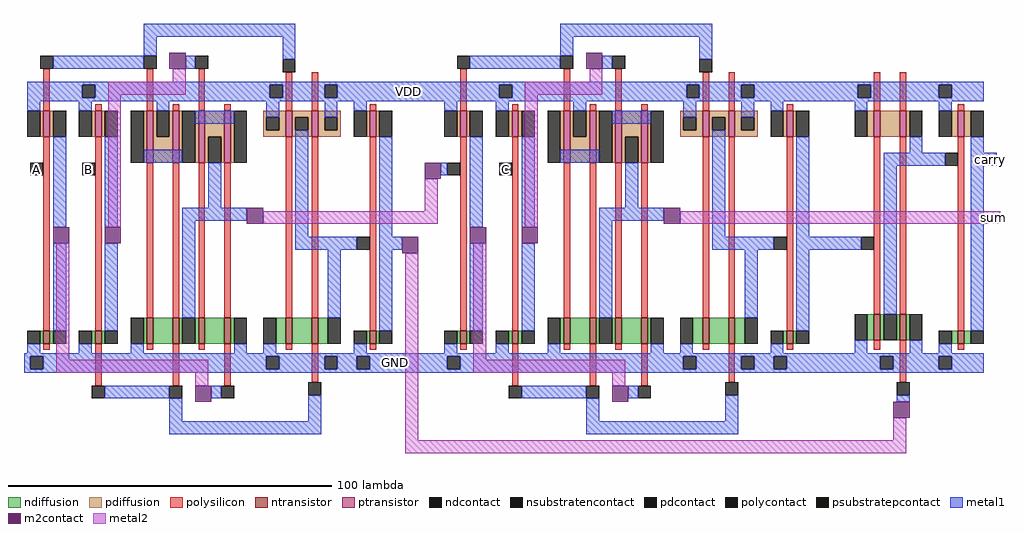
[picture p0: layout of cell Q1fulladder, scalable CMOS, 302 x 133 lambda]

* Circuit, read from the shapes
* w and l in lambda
.subckt Q1fulladder A B C GND VDD carry sum
M1 n1 A GND GND nfet w=4 l=2
M2 n2 B GND GND nfet w=4 l=2
M3 n3 A GND GND nfet w=8 l=2
M4 n4 B n3 GND nfet w=8 l=2
M5 n5 n2 n4 GND nfet w=8 l=2
M6 GND n1 n5 GND nfet w=8 l=2
M7 n6 A GND GND nfet w=8 l=2
M8 n7 B n6 GND nfet w=8 l=2
M9 n8 n7 GND GND nfet w=4 l=2
M10 n9 n4 GND GND nfet w=4 l=2
M11 n10 C GND GND nfet w=4 l=2
M12 n11 n4 GND GND nfet w=8 l=2
M13 sum C n11 GND nfet w=8 l=2
M14 n12 n10 sum GND nfet w=8 l=2
M15 GND n9 n12 GND nfet w=8 l=2
M16 n13 n4 GND GND nfet w=8 l=2
M17 n14 C n13 GND nfet w=8 l=2
M18 n15 n14 GND GND nfet w=4 l=2
M19 n16 n15 GND GND nfet w=8 l=2
M20 GND n8 n16 GND nfet w=8 l=2
M21 carry n16 GND GND nfet w=4 l=2
M22 n1 A VDD VDD pfet w=8 l=2
M23 n2 B VDD VDD pfet w=8 l=2
M24 VDD A n17 VDD pfet w=16 l=2
M25 n17 B VDD VDD pfet w=16 l=2
M26 n4 n2 n17 VDD pfet w=16 l=2
M27 n17 n1 n4 VDD pfet w=16 l=2
M28 n7 A VDD VDD pfet w=8 l=2
M29 VDD B n7 VDD pfet w=8 l=2
M30 n8 n7 VDD VDD pfet w=8 l=2
M31 n9 n4 VDD VDD pfet w=8 l=2
M32 n10 C VDD VDD pfet w=8 l=2
M33 VDD n4 n18 VDD pfet w=16 l=2
M34 n18 C VDD VDD pfet w=16 l=2
M35 sum n10 n18 VDD pfet w=16 l=2
M36 n18 n9 sum VDD pfet w=16 l=2
M37 n14 n4 VDD VDD pfet w=8 l=2
M38 VDD C n14 VDD pfet w=8 l=2
M39 n15 n14 VDD VDD pfet w=8 l=2
M40 n19 n15 VDD VDD pfet w=8 l=2
M41 n16 n8 n19 VDD pfet w=8 l=2
M42 carry n16 VDD VDD pfet w=8 l=2
.ends

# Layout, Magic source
magic
tech scmos
<< polysilicon >>
rect 6 100 8 113
rect 22 100 24 102
rect 38 100 40 113
rect 46 100 48 102
rect 54 100 56 113
rect 62 100 64 102
rect 81 100 83 112
rect 89 100 91 112
rect 107 100 109 102
rect 135 100 137 113
rect 151 100 153 102
rect 167 100 169 113
rect 175 100 177 102
rect 183 100 185 113
rect 191 100 193 102
rect 210 100 212 112
rect 218 100 220 112
rect 236 100 238 102
rect 263 100 265 112
rect 271 100 273 112
rect 289 100 291 102
rect 6 32 8 92
rect 22 32 24 92
rect 38 36 40 84
rect 46 36 48 84
rect 54 36 56 84
rect 62 36 64 84
rect 81 36 83 92
rect 89 36 91 92
rect 107 32 109 92
rect 135 32 137 92
rect 151 32 153 92
rect 167 36 169 84
rect 175 36 177 84
rect 183 36 185 84
rect 191 36 193 84
rect 210 36 212 92
rect 218 36 220 92
rect 236 32 238 92
rect 263 37 265 92
rect 271 37 273 92
rect 289 32 291 92
rect 6 26 8 28
rect 22 15 24 28
rect 38 26 40 28
rect 46 15 48 28
rect 54 26 56 28
rect 62 15 64 28
rect 81 26 83 28
rect 89 16 91 28
rect 107 26 109 28
rect 135 26 137 28
rect 151 15 153 28
rect 167 26 169 28
rect 175 15 177 28
rect 183 26 185 28
rect 191 15 193 28
rect 210 26 212 28
rect 218 16 220 28
rect 236 26 238 28
rect 263 26 265 29
rect 271 16 273 29
rect 289 26 291 28
<< ndiffusion >>
rect 5 28 6 32
rect 8 28 9 32
rect 21 28 22 32
rect 24 28 25 32
rect 37 28 38 36
rect 40 28 46 36
rect 48 28 49 36
rect 53 28 54 36
rect 56 28 62 36
rect 64 28 65 36
rect 78 28 81 36
rect 83 28 89 36
rect 91 28 94 36
rect 106 28 107 32
rect 109 28 110 32
rect 134 28 135 32
rect 137 28 138 32
rect 150 28 151 32
rect 153 28 154 32
rect 166 28 167 36
rect 169 28 175 36
rect 177 28 178 36
rect 182 28 183 36
rect 185 28 191 36
rect 193 28 194 36
rect 207 28 210 36
rect 212 28 218 36
rect 220 28 223 36
rect 235 28 236 32
rect 238 28 239 32
rect 261 29 263 37
rect 265 29 266 37
rect 270 29 271 37
rect 273 29 274 37
rect 287 28 289 32
rect 291 28 293 32
<< pdiffusion >>
rect 5 92 6 100
rect 8 92 9 100
rect 21 92 22 100
rect 24 92 25 100
rect 37 84 38 100
rect 40 92 41 100
rect 45 92 46 100
rect 40 84 46 92
rect 48 84 49 100
rect 53 84 54 100
rect 56 92 62 100
rect 56 84 57 92
rect 61 84 62 92
rect 64 84 65 100
rect 74 98 81 100
rect 74 94 75 98
rect 79 94 81 98
rect 74 92 81 94
rect 83 98 89 100
rect 83 94 84 98
rect 88 94 89 98
rect 83 92 89 94
rect 91 98 98 100
rect 91 94 93 98
rect 97 94 98 98
rect 91 92 98 94
rect 106 92 107 100
rect 109 92 110 100
rect 134 92 135 100
rect 137 92 138 100
rect 150 92 151 100
rect 153 92 154 100
rect 166 84 167 100
rect 169 92 170 100
rect 174 92 175 100
rect 169 84 175 92
rect 177 84 178 100
rect 182 84 183 100
rect 185 92 191 100
rect 185 84 186 92
rect 190 84 191 92
rect 193 84 194 100
rect 203 98 210 100
rect 203 94 204 98
rect 208 94 210 98
rect 203 92 210 94
rect 212 98 218 100
rect 212 94 213 98
rect 217 94 218 98
rect 212 92 218 94
rect 220 98 227 100
rect 220 94 222 98
rect 226 94 227 98
rect 220 92 227 94
rect 235 92 236 100
rect 238 92 239 100
rect 261 92 263 100
rect 265 92 271 100
rect 273 92 274 100
rect 287 92 289 100
rect 291 92 293 100
<< metal1 >>
rect 37 123 84 127
rect 37 117 41 123
rect 9 113 37 117
rect 50 113 53 117
rect 80 116 84 123
rect 166 123 213 127
rect 166 117 170 123
rect 138 113 166 117
rect 179 113 182 117
rect 209 116 213 123
rect 1 108 297 109
rect 1 104 18 108
rect 22 104 76 108
rect 80 104 93 108
rect 97 104 147 108
rect 151 104 205 108
rect 209 104 222 108
rect 226 104 258 108
rect 262 104 283 108
rect 287 104 297 108
rect 1 103 297 104
rect 1 100 5 103
rect 17 100 21 103
rect 41 100 45 103
rect 9 64 13 92
rect 25 64 29 92
rect 37 84 49 88
rect 53 96 65 100
rect 75 98 79 103
rect 93 98 97 103
rect 102 100 106 103
rect 130 100 134 103
rect 146 100 150 103
rect 170 100 174 103
rect 57 70 61 84
rect 49 66 69 70
rect 9 32 13 59
rect 25 32 29 59
rect 49 36 53 66
rect 84 61 88 94
rect 110 61 114 92
rect 129 80 131 84
rect 138 64 142 92
rect 154 64 158 92
rect 166 84 178 88
rect 182 96 194 100
rect 204 98 208 103
rect 222 98 226 103
rect 231 100 235 103
rect 257 100 261 103
rect 283 100 287 103
rect 186 70 190 84
rect 178 66 198 70
rect 84 57 103 61
rect 110 57 117 61
rect 94 36 98 57
rect 1 25 5 28
rect 17 25 21 28
rect 33 25 37 28
rect 65 25 69 28
rect 110 32 114 57
rect 138 32 142 59
rect 154 32 158 59
rect 178 36 182 66
rect 213 61 217 94
rect 239 61 243 92
rect 274 87 278 92
rect 293 87 297 92
rect 266 83 285 87
rect 293 83 301 87
rect 213 57 232 61
rect 239 57 259 61
rect 223 36 227 57
rect 74 25 78 28
rect 102 25 106 28
rect 130 25 134 28
rect 146 25 150 28
rect 162 25 166 28
rect 194 25 198 28
rect 239 32 243 57
rect 266 37 270 83
rect 293 32 297 83
rect 203 25 207 28
rect 231 25 235 28
rect 257 25 261 29
rect 274 25 278 29
rect 283 25 287 28
rect 0 24 297 25
rect 0 20 2 24
rect 6 20 75 24
rect 79 20 93 24
rect 97 20 103 24
rect 107 20 131 24
rect 135 20 204 24
rect 208 20 222 24
rect 226 20 232 24
rect 236 20 265 24
rect 269 20 283 24
rect 287 20 297 24
rect 0 19 297 20
rect 25 11 45 15
rect 45 4 49 11
rect 58 11 61 15
rect 88 4 92 12
rect 154 11 174 15
rect 45 0 92 4
rect 174 4 178 11
rect 187 11 190 15
rect 217 4 221 12
rect 270 10 274 12
rect 174 0 221 4
<< metal2 >>
rect 46 109 50 113
rect 175 109 179 113
rect 26 105 50 109
rect 155 105 179 109
rect 26 64 30 105
rect 124 69 128 79
rect 74 65 128 69
rect 155 64 159 105
rect 203 65 302 69
rect 10 23 14 59
rect 10 19 57 23
rect 53 15 57 19
rect 118 -2 122 56
rect 139 23 143 59
rect 139 19 186 23
rect 182 15 186 19
rect 269 -2 273 5
rect 118 -6 273 -2
<< ntransistor >>
rect 6 28 8 32
rect 22 28 24 32
rect 38 28 40 36
rect 46 28 48 36
rect 54 28 56 36
rect 62 28 64 36
rect 81 28 83 36
rect 89 28 91 36
rect 107 28 109 32
rect 135 28 137 32
rect 151 28 153 32
rect 167 28 169 36
rect 175 28 177 36
rect 183 28 185 36
rect 191 28 193 36
rect 210 28 212 36
rect 218 28 220 36
rect 236 28 238 32
rect 263 29 265 37
rect 271 29 273 37
rect 289 28 291 32
<< ptransistor >>
rect 6 92 8 100
rect 22 92 24 100
rect 38 84 40 100
rect 46 84 48 100
rect 54 84 56 100
rect 62 84 64 100
rect 81 92 83 100
rect 89 92 91 100
rect 107 92 109 100
rect 135 92 137 100
rect 151 92 153 100
rect 167 84 169 100
rect 175 84 177 100
rect 183 84 185 100
rect 191 84 193 100
rect 210 92 212 100
rect 218 92 220 100
rect 236 92 238 100
rect 263 92 265 100
rect 271 92 273 100
rect 289 92 291 100
<< polycontact >>
rect 5 113 9 117
rect 37 113 41 117
rect 53 113 57 117
rect 80 112 84 116
rect 134 113 138 117
rect 166 113 170 117
rect 182 113 186 117
rect 209 112 213 116
rect 2 80 6 84
rect 18 80 22 84
rect 103 57 107 61
rect 131 80 135 84
rect 147 80 151 84
rect 232 57 236 61
rect 259 57 263 61
rect 285 83 289 87
rect 21 11 25 15
rect 45 11 49 15
rect 61 11 65 15
rect 88 12 92 16
rect 150 11 154 15
rect 174 11 178 15
rect 190 11 194 15
rect 217 12 221 16
rect 270 12 274 16
<< ndcontact >>
rect 1 28 5 32
rect 9 28 13 32
rect 17 28 21 32
rect 25 28 29 32
rect 33 28 37 36
rect 49 28 53 36
rect 65 28 69 36
rect 74 28 78 36
rect 94 28 98 36
rect 102 28 106 32
rect 110 28 114 32
rect 130 28 134 32
rect 138 28 142 32
rect 146 28 150 32
rect 154 28 158 32
rect 162 28 166 36
rect 178 28 182 36
rect 194 28 198 36
rect 203 28 207 36
rect 223 28 227 36
rect 231 28 235 32
rect 239 28 243 32
rect 257 29 261 37
rect 266 29 270 37
rect 274 29 278 37
rect 283 28 287 32
rect 293 28 297 32
<< pdcontact >>
rect 1 92 5 100
rect 9 92 13 100
rect 17 92 21 100
rect 25 92 29 100
rect 33 84 37 100
rect 41 92 45 100
rect 49 84 53 100
rect 57 84 61 92
rect 65 84 69 100
rect 75 94 79 98
rect 84 94 88 98
rect 93 94 97 98
rect 102 92 106 100
rect 110 92 114 100
rect 130 92 134 100
rect 138 92 142 100
rect 146 92 150 100
rect 154 92 158 100
rect 162 84 166 100
rect 170 92 174 100
rect 178 84 182 100
rect 186 84 190 92
rect 194 84 198 100
rect 204 94 208 98
rect 213 94 217 98
rect 222 94 226 98
rect 231 92 235 100
rect 239 92 243 100
rect 257 92 261 100
rect 274 92 278 100
rect 283 92 287 100
rect 293 92 297 100
<< m2contact >>
rect 45 113 50 118
rect 174 113 179 118
rect 9 59 14 64
rect 25 59 30 64
rect 69 65 74 70
rect 124 79 129 84
rect 117 56 122 61
rect 138 59 143 64
rect 154 59 159 64
rect 198 65 203 70
rect 53 10 58 15
rect 182 10 187 15
rect 269 5 274 10
<< psubstratepcontact >>
rect 2 20 6 24
rect 75 20 79 24
rect 93 20 97 24
rect 103 20 107 24
rect 131 20 135 24
rect 204 20 208 24
rect 222 20 226 24
rect 232 20 236 24
rect 265 20 269 24
rect 283 20 287 24
<< nsubstratencontact >>
rect 18 104 22 108
rect 76 104 80 108
rect 93 104 97 108
rect 147 104 151 108
rect 205 104 209 108
rect 222 104 226 108
rect 258 104 262 108
rect 283 104 287 108
<< labels >>
rlabel polycontact 4 82 4 82 3 A
rlabel polycontact 20 82 20 82 1 B
rlabel polycontact 149 82 149 82 1 C
rlabel metal1 299 85 299 85 7 carry
rlabel metal2 300 67 300 67 7 sum
rlabel metal1 119 106 119 106 1 VDD
rlabel metal1 115 22 115 22 1 GND
<< end >>
